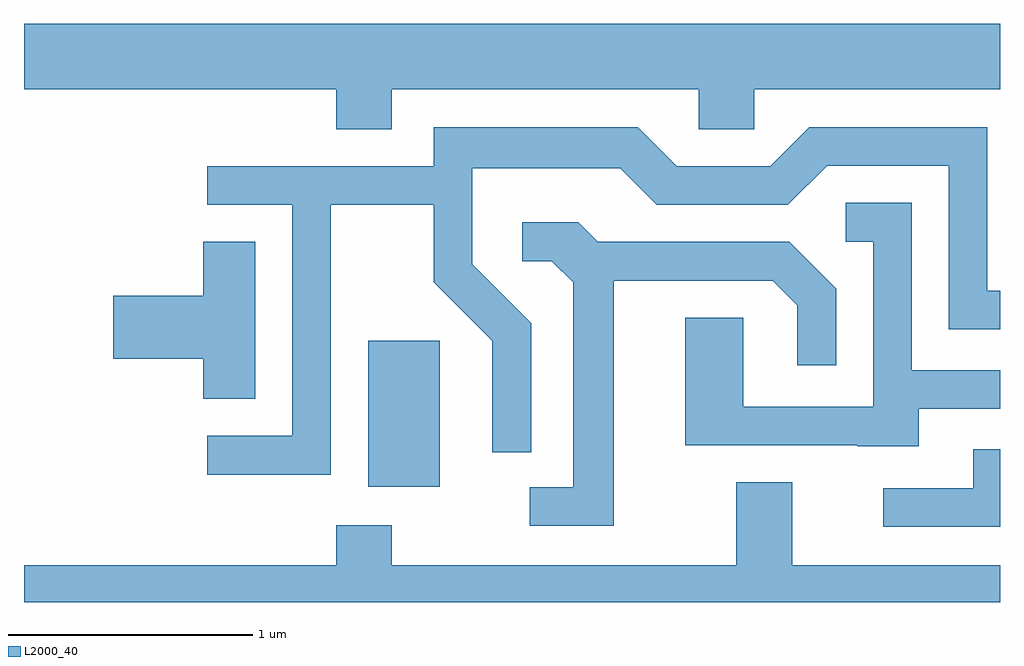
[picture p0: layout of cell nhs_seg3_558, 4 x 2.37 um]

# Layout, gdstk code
import gdstk
lib = gdstk.Library(unit=1e-6, precision=1e-09)
def R(c, l, rs):  # rectangles x0, y0, x1, y1
    for r in rs: c.add(gdstk.rectangle(r[:2], r[2:], *l))
def P(c, l, *ps):  # polygons
    for p in ps: c.add(gdstk.Polygon(p, *l))
L2000_40 = (2000, 40)

nhs_seg3_558 = lib.new_cell('nhs_seg3_558')
R(nhs_seg3_558, L2000_40, [(203.021,1144.366,203.314,1144.964)])
P(nhs_seg3_558, L2000_40, [(203.119,1145.996),(204.376,1145.996),(204.376,1145.831),(204.604,1145.831),(204.604,1145.996),(205.611,1145.996),(205.611,1146.264),(201.611,1146.264),(201.611,1145.996),(202.891,1145.996),(202.891,1145.831),(203.119,1145.831)],
  [(202.869,1145.521),(203.291,1145.521),(203.291,1145.204),(203.531,1144.964),(203.531,1144.508),(203.689,1144.508),(203.689,1145.037),(203.449,1145.277),(203.449,1145.671),(204.054,1145.671),(204.204,1145.521),(204.742,1145.521),(204.902,1145.681),(205.401,1145.681),(205.401,1145.011),(205.611,1145.011),(205.611,1145.169),(205.559,1145.169),(205.559,1145.839),(204.829,1145.839),(204.669,1145.679),(204.287,1145.679),(204.127,1145.839),(203.291,1145.839),(203.291,1145.679),(202.363,1145.679),(202.363,1145.521),(202.711,1145.521),(202.711,1144.574),(202.363,1144.574),(202.363,1144.416),(202.869,1144.416)],
  [(205.279,1144.686),(205.611,1144.686),(205.611,1144.844),(205.249,1144.844),(205.249,1145.529),(204.978,1145.529),(204.978,1145.371),(205.091,1145.371),(205.091,1144.694),(204.559,1144.694),(204.559,1145.059),(204.321,1145.059),(204.321,1144.536),(205.025,1144.536),(205.025,1144.531),(205.279,1144.531)],
  [(204.029,1145.211),(204.679,1145.211),(204.781,1145.109),(204.781,1144.863),(204.939,1144.863),(204.939,1145.177),(204.747,1145.369),(203.962,1145.369),(203.882,1145.449),(203.653,1145.449),(203.653,1145.291),(203.774,1145.291),(203.861,1145.204),(203.861,1144.364),(203.683,1144.364),(203.683,1144.206),(204.029,1144.206)],
  [(202.559,1145.369),(202.346,1145.369),(202.346,1145.149),(201.976,1145.149),(201.976,1144.891),(202.346,1144.891),(202.346,1144.726),(202.559,1144.726)],
  [(205.611,1144.519),(205.501,1144.519),(205.501,1144.359),(205.133,1144.359),(205.133,1144.201),(205.611,1144.201)],
  [(205.611,1144.044),(204.759,1144.044),(204.759,1144.384),(204.531,1144.384),(204.531,1144.044),(203.119,1144.044),(203.119,1144.209),(202.891,1144.209),(202.891,1144.044),(201.611,1144.044),(201.611,1143.892),(205.611,1143.892)])

lib.write_gds('nhs_seg3_558.gds')
